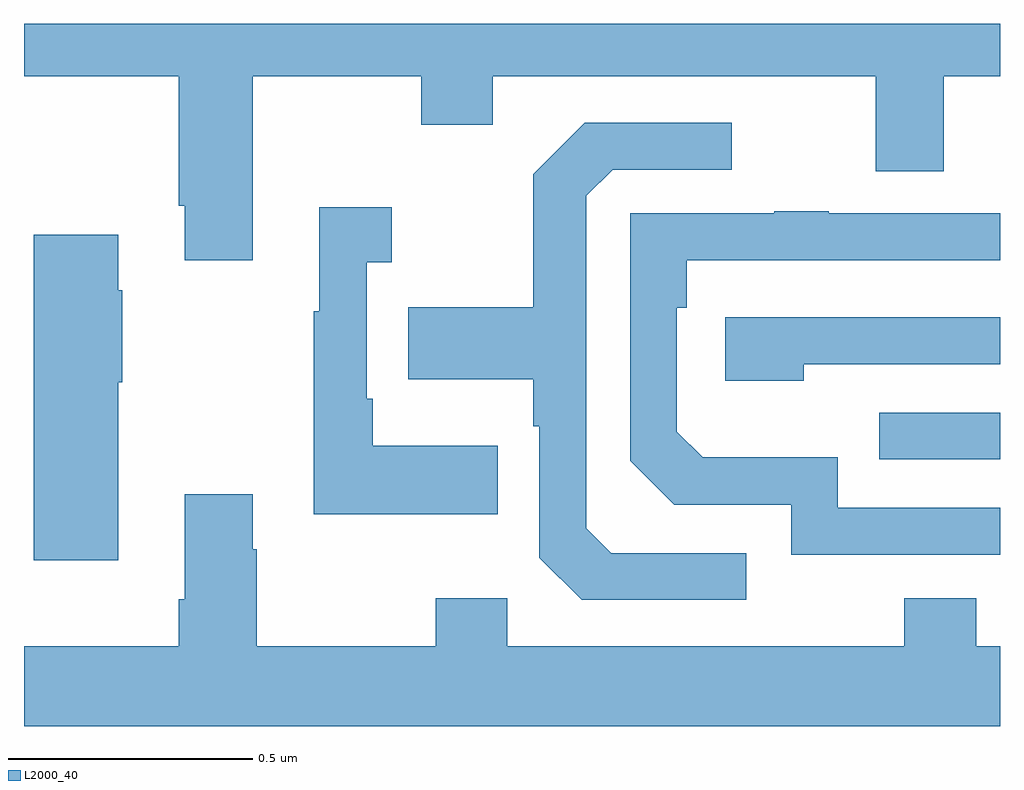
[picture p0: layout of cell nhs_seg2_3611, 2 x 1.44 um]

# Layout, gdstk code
import gdstk
lib = gdstk.Library(unit=1e-6, precision=1e-09)
def R(c, l, rs):  # rectangles x0, y0, x1, y1
    for r in rs: c.add(gdstk.rectangle(r[:2], r[2:], *l))
def P(c, l, *ps):  # polygons
    for p in ps: c.add(gdstk.Polygon(p, *l))
L2000_40 = (2000, 40)

nhs_seg2_3611 = lib.new_cell('nhs_seg2_3611')
R(nhs_seg2_3611, L2000_40, [(157.753,590.907,158,591.003)])
P(nhs_seg2_3611, L2000_40, [(156.469,591.692),(156.814,591.692),(156.814,591.593),(156.961,591.593),(156.961,591.692),(157.745,591.692),(157.745,591.498),(157.885,591.498),(157.885,591.692),(158,591.692),(158,591.8),(156,591.8),(156,591.692),(156.317,591.692),(156.317,591.427),(156.329,591.427),(156.329,591.315),(156.469,591.315)],
  [(157.48,590.715),(157.203,590.715),(157.152,590.766),(157.152,591.447),(157.206,591.501),(157.45,591.501),(157.45,591.597),(157.149,591.597),(157.044,591.491),(157.044,591.219),(156.787,591.219),(156.787,591.071),(157.044,591.071),(157.044,590.975),(157.056,590.975),(157.056,590.706),(157.143,590.619),(157.48,590.619)],
  [(156.971,590.935),(156.715,590.935),(156.715,591.031),(156.702,591.031),(156.702,591.311),(156.754,591.311),(156.754,591.424),(156.605,591.424),(156.605,591.211),(156.594,591.211),(156.594,590.795),(156.971,590.795)],
  [(158,590.808),(157.668,590.808),(157.668,590.911),(157.391,590.911),(157.338,590.964),(157.338,591.218),(157.358,591.218),(157.358,591.315),(158,591.315),(158,591.411),(157.649,591.411),(157.649,591.416),(157.537,591.416),(157.537,591.411),(157.242,591.411),(157.242,590.904),(157.332,590.814),(157.572,590.814),(157.572,590.712),(158,590.712)],
  [(156.193,591.065),(156.201,591.065),(156.201,591.254),(156.193,591.254),(156.193,591.367),(156.02,591.367),(156.02,590.7),(156.193,590.7)],
  [(157.598,591.102),(158,591.102),(158,591.198),(157.437,591.198),(157.437,591.068),(157.598,591.068)],
  [(158,590.524),(157.951,590.524),(157.951,590.623),(157.804,590.623),(157.804,590.524),(156.99,590.524),(156.99,590.623),(156.844,590.623),(156.844,590.524),(156.477,590.524),(156.477,590.723),(156.469,590.723),(156.469,590.836),(156.329,590.836),(156.329,590.62),(156.317,590.62),(156.317,590.524),(156,590.524),(156,590.36),(158,590.36)])

lib.write_gds('nhs_seg2_3611.gds')
